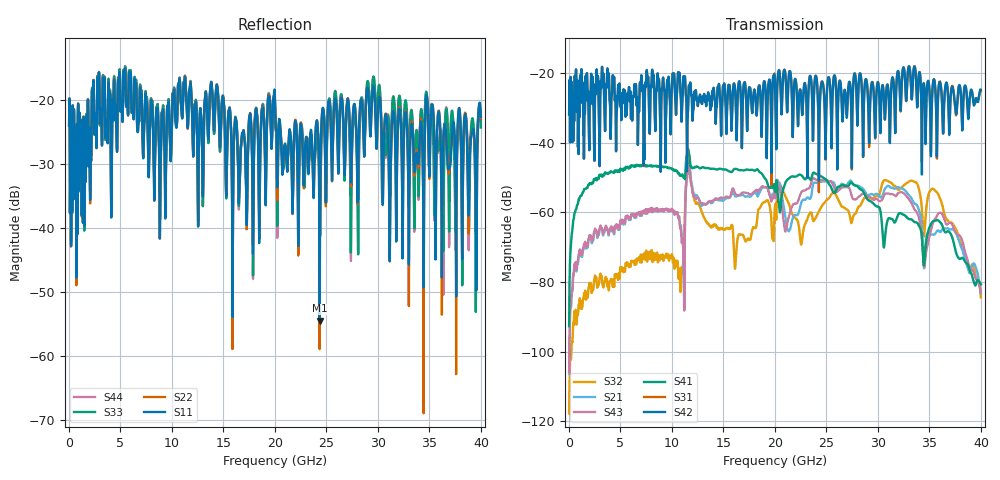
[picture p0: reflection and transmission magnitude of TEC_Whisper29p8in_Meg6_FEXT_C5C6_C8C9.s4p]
! Tyco Electronics Strada Whisper System
! FEXT_C5C6-C8C9
!! SYSTEM DESCRIPTION: Daughtercard-Connector-Backplane-Connector-Daughtercard
!! PCB DESCRIPTION: BP: 250mil, 26 lyrs, Megtron6, bottom layer route, no stub, 6-9-6mil 17" traces; DC: 150mil, 16 lyrs, Megtron6, bottom layer route, no stub, 6-9-6mil 5" traces
!! CONNECTOR DESCRIPTION: STRADA Whisper, Right Angle Receptacle to Vertical Header
!! MODEL DESCRIPTION: Tyco Electronics System 4-port S-parameter
!! MODEL STATUS: Developmental
!! MODEL GEOMETRY: Channel Model
!! MODEL FREQUENCY RANGE: DC to 40 GHz in 10 MHz frequency steps
!! MODEL EDGE RATE LIMITATION: 12.5 ps (Using conservative 0.5/Fmax rule of thumb)
!! TIME-DOMAIN TRANSFORM CAUTIONS:
!! 1.) Do not simulate transient edge rates faster than the number listed above.  Edge rates faster than this number
!!  contain significant spectral content at frequencies above the model's highest frequency.
!! 2.) Even when simulating edge rates that are slower than the number listed above, be aware that the best time
!!  resolution possible with a direct iFFT is (1 / 2Fmax).  As a result, time resolution is typically not adequate
!!  for most time-domain simulations unless tricks such as windowing are used to minimize leakage and aliasing.
!! 3.) Because the model has a uniform frequency step, a direct iFFT will result in an impulse that that has a time
!!  length given by either (1 / Fstep) or (1 / 2Fstep), depending on the transform being used.  Care has been taken
!!  in selecting the frequency step to ensure a settled impulse response for the model.  Therefore, convolution with
!!  the model's impulse response should present no issues.  However, if directly concatenating s-parameter models
!!  in the frequency domain a user must either interpolate necessary interim frequencies or complete impulse response
!!  zero-padding.  Impulse response zero-padding is more difficult, but more accurate.
!! PORT DEFINITIONS:
!! Port  1  ----->  Side A  C8  C5  Side B  <-----  Port  2
!! Port  3  ----->  Side A  C9  C6  Side B  <-----  Port  4
! Created Wed Apr 27 14:19:00 2011
# hz S ma R 50
! 4 Port Network Data from SP1.SP block
! freq  magS11  angS11  magS12  angS12  magS13  angS13  magS14  angS14
!  magS21  angS21  magS22  angS22  magS23  angS23  magS24  angS24
!  magS31  angS31  magS32  angS32  magS33  angS33  magS34  angS34
!  magS41  angS41  magS42  angS42  magS43  angS43  magS44  angS44
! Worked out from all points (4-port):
!   4000 points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, 10 MHz to 40 GHz, reference 50 ohm
!   strongest paths, dB at 10 MHz, 10.01 GHz, 20.01 GHz, 30.01 GHz, 40 GHz:
!     S42: -31.9, -23.2, -23.6, -22.7, -24.9
!     S31: -31.9, -23.2, -23.1, -22.6, -25.3
!     S41: -92.7, -47.5, -53.4, -58.4, -80.7
!     S43: -105.9, -59.0, -53.4, -56.5, -83.0
!     S21: -106.4, -59.1, -52.8, -54.9, -83.3
!     S32: -117.8, -72.1, -58.2, -55.4, -84.5
!   lowest |S11| = -54.5 dB at 24.35 GHz (marker M1), VSWR 1.00, Z = 50 + j0.188 ohm
!   |S11| at or under -10 dB: start of sweep to end of sweep
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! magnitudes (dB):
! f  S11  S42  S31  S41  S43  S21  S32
! 10 MHz  -23.9  -31.9  -31.9  -92.7  -105.9  -106.4  -117.8
! 3.51 GHz  -23.3  -36.4  -36.4  -48.5  -64.4  -64.7  -79.2
! 10.83 GHz  -19.9  -25.9  -25.9  -49.2  -64.6  -63.8  -82.7
! 11.61 GHz  -20.5  -25.4  -25.1  -42.3  -46.6  -46.1  -47.4
! 24.35 GHz  -54.5  -29.7  -29.6  -49.5  -50.8  -51.3  -59.3
! 35.4 GHz  -22.5  -21.9  -22.1  -62.5  -62.7  -66.4  -53.3
! 40 GHz  -22.6  -24.9  -25.3  -80.7  -83.0  -83.3  -84.5
